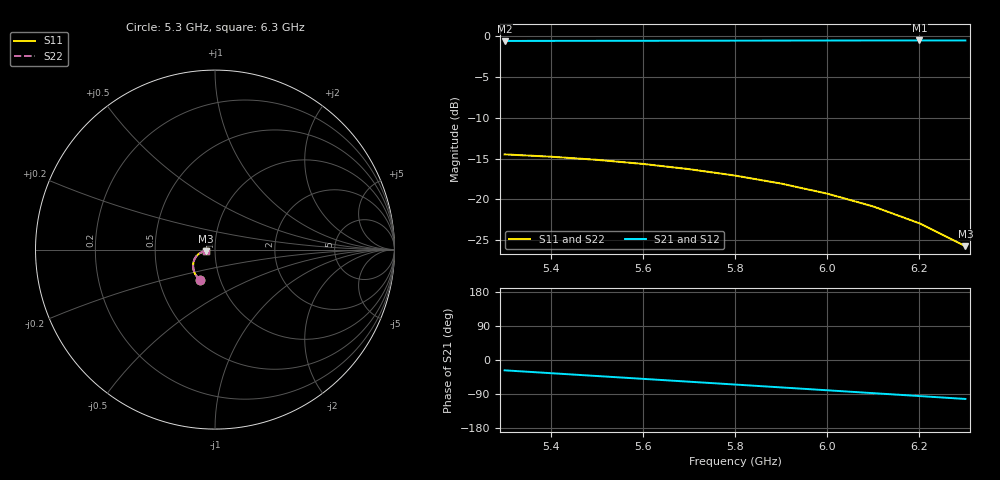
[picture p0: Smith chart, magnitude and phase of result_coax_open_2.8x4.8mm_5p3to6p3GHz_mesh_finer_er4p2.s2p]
! PCB epsilon-r=4.2, loss tangent 0.02; fixed finer mesh
! 2.8 x 4.8 mm L2 windows; L3/Bottom intact; coax reference planes
! 11 direct FEM points; connectors included
# Hz S RI R 50
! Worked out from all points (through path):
!   11 points, 5.3 GHz to 6.3 GHz, reference 50 ohm
!   highest |S21| = -0.56 dB at 6.2 GHz (marker M1); lowest = -0.6 dB at 5.3 GHz (marker M2)
!   group delay of S21, straight-line fit = 210 ps
!   lowest |S11| = -25.7 dB at 6.3 GHz (marker M3), VSWR 1.11, Z = 45.2 - j0.901 ohm
!   |S11| at or under -10 dB: start of sweep to end of sweep
!   |S22| runs from -25.8 to -14.5 dB; largest |S21 - S12| = 1e-12
5.3e9  -0.0828 -0.1694  0.8278 -0.4265  0.8278 -0.4265  -0.0819 -0.1698
5.4e9  -0.0992 -0.1533  0.7656 -0.5311  0.7656 -0.5311  -0.0985 -0.1537
5.5e9  -0.1116 -0.1344  0.6903 -0.6267  0.6903 -0.6267  -0.1111 -0.1348
5.6e9  -0.1195 -0.1136  0.6032 -0.7119  0.6032 -0.7119  -0.1191 -0.1139
5.7e9  -0.1225 -0.0922  0.5056 -0.7853  0.5056 -0.7853  -0.1222 -0.0923
5.8e9  -0.1205 -0.0712  0.3988 -0.8456  0.3988 -0.8456  -0.1203 -0.0712
5.9e9  -0.1138 -0.0518  0.2844 -0.8916  0.2844 -0.8916  -0.1137 -0.0517
6e9  -0.1028 -0.035  0.1644 -0.922  0.1644 -0.922  -0.1027 -0.0347
6.1e9  -0.088 -0.0219  0.0409 -0.9362  0.0409 -0.9362  -0.0878 -0.0214
6.2e9  -0.0703 -0.0133  -0.084 -0.9336  -0.084 -0.9336  -0.0701 -0.0127
6.3e9  -0.0509 -0.00995  -0.2078 -0.914  -0.2078 -0.914  -0.0505 -0.00923
